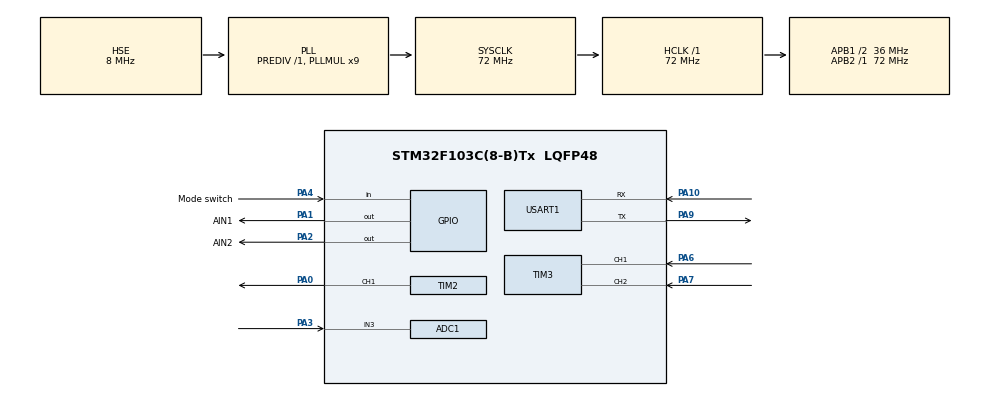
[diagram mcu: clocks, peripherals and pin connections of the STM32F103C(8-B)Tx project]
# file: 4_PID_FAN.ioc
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ADC1.Channel-0\#ChannelRegularConversion=ADC_CHANNEL_3
ADC1.NbrOfConversionFlag=1
ADC1.Rank-0\#ChannelRegularConversion=1
ADC1.SamplingTime-0\#ChannelRegularConversion=ADC_SAMPLETIME_1CYCLE_5
ADC1.master=1
FREERTOS.Tasks01=inputTask,24,128,StartInputTask,Default,NULL,Dynamic,NULL,NULL;modeSwitchTask,8,128,StartModeSwitchTask,Default,NULL,Dynamic,NULL,NULL;speedPidTask,24,128,StartSpeedPidTask,Default,NULL,Dynamic,NULL,NULL;positionPidTask,24,128,StartPositionPidTask,Default,NULL,Dynamic,NULL,NULL;vofaTelemetryTask,8,256,StartVofaTelemetryTask,Default,NULL,Dynamic,NULL,NULL;pidTuningTask,16,256,StartPidTuningTask,Default,NULL,Dynamic,NULL,NULL
FREERTOS.configTOTAL_HEAP_SIZE=8192
Mcu.Family=STM32F1
Mcu.Name=STM32F103C(8-B)Tx
Mcu.Package=LQFP48
NVIC.PriorityGroup=NVIC_PRIORITYGROUP_4
NVIC.TIM4_IRQn=true\:15\:0\:false\:false\:true\:false\:false\:true\:true
NVIC.TimeBase=TIM4_IRQn
NVIC.TimeBaseIP=TIM4
NVIC.USART1_IRQn=true\:5\:0\:false\:false\:true\:true\:true\:true\:true
PA0-WKUP.Signal=S_TIM2_CH1_ETR
PA1.GPIO_Label=AIN1
PA1.Signal=GPIO_Output
PA10.Mode=Asynchronous
PA10.Signal=USART1_RX
PA13.Mode=Serial_Wire
PA13.Signal=SYS_JTMS-SWDIO
PA14.Mode=Serial_Wire
PA14.Signal=SYS_JTCK-SWCLK
PA2.GPIO_Label=AIN2
PA2.Signal=GPIO_Output
PA3.Signal=ADCx_IN3
PA4.GPIO_Label=Mode switch
PA4.GPIO_PuPd=GPIO_PULLUP
PA4.Signal=GPIO_Input
PA6.Signal=S_TIM3_CH1
PA7.Signal=S_TIM3_CH2
PA9.Mode=Asynchronous
PA9.Signal=USART1_TX
PD0-OSC_IN.Mode=HSE-External-Oscillator
PD0-OSC_IN.Signal=RCC_OSC_IN
PD1-OSC_OUT.Mode=HSE-External-Oscillator
PD1-OSC_OUT.Signal=RCC_OSC_OUT
ProjectManager.HeapSize=0x200
ProjectManager.StackSize=0x400
ProjectManager.TargetToolchain=CMake
RCC.ADCPresc=RCC_ADCPCLK2_DIV6
RCC.AHBFreq_Value=72000000
RCC.APB1CLKDivider=RCC_HCLK_DIV2
RCC.APB1Freq_Value=36000000
RCC.APB1TimFreq_Value=72000000
RCC.APB2Freq_Value=72000000
RCC.APB2TimFreq_Value=72000000
RCC.HCLKFreq_Value=72000000
RCC.PLLMUL=RCC_PLL_MUL9
RCC.PLLSourceVirtual=RCC_PLLSOURCE_HSE
RCC.SYSCLKFreq_VALUE=72000000
RCC.SYSCLKSource=RCC_SYSCLKSOURCE_PLLCLK
RCC.USBFreq_Value=72000000
SH.ADCx_IN3.0=ADC1_IN3,IN3
SH.S_TIM2_CH1_ETR.0=TIM2_CH1,PWM Generation1 CH1
SH.S_TIM3_CH1.0=TIM3_CH1,Encoder_Interface
SH.S_TIM3_CH2.0=TIM3_CH2,Encoder_Interface
TIM2.AutoReloadPreload=TIM_AUTORELOAD_PRELOAD_ENABLE
TIM2.Channel-PWM\ Generation1\ CH1=TIM_CHANNEL_1
TIM2.Period=1000-1
TIM2.Prescaler=72-1
TIM3.EncoderMode=TIM_ENCODERMODE_TI12
USART1.VirtualMode=VM_ASYNC
VP_FREERTOS_VS_CMSIS_V2.Mode=CMSIS_V2
VP_SYS_VS_tim4.Mode=TIM4
VP_TIM2_VS_ClockSourceINT.Mode=Internal
board=custom

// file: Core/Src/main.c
/* USER CODE BEGIN Header */
/**
  ******************************************************************************
  * @file           : main.c
  * @brief          : Main program body
  ******************************************************************************
  * @attention
  *
  * Copyright (c) 2026 STMicroelectronics.
  * All rights reserved.
  *
  * This software is licensed under terms that can be found in the LICENSE file
  * in the root directory of this software component.
  * If no LICENSE file comes with this software, it is provided AS-IS.
  *
  ******************************************************************************
  */
/* USER CODE END Header */
#include "main.h"
#include "cmsis_os.h"
#include "adc.h"
#include "tim.h"
#include "usart.h"
#include "gpio.h"

void SystemClock_Config(void);
void MX_FREERTOS_Init(void);

int main(void)
{

  /* MCU Configuration--------------------------------------------------------*/

  /* Reset of all peripherals, Initializes the Flash interface and the Systick. */
  HAL_Init();

  /* Configure the system clock */
  SystemClock_Config();

  /* Initialize all configured peripherals */
  MX_GPIO_Init();
  MX_ADC1_Init();
  MX_TIM2_Init();
  MX_TIM3_Init();
  MX_USART1_UART_Init();

  /* Init scheduler */
  osKernelInitialize();  /* Call init function for freertos objects (in cmsis_os2.c) */
  MX_FREERTOS_Init();

  /* Start scheduler */
  osKernelStart();

  /* We should never get here as control is now taken by the scheduler */

  /* Infinite loop */
  while (1)
  {

  }
}

void SystemClock_Config(void)
{
  RCC_OscInitTypeDef RCC_OscInitStruct = {0};
  RCC_ClkInitTypeDef RCC_ClkInitStruct = {0};
  RCC_PeriphCLKInitTypeDef PeriphClkInit = {0};

  /** Initializes the RCC Oscillators according to the specified parameters
  * in the RCC_OscInitTypeDef structure.
  */
  RCC_OscInitStruct.OscillatorType = RCC_OSCILLATORTYPE_HSE;
  RCC_OscInitStruct.HSEState = RCC_HSE_ON;
  RCC_OscInitStruct.HSEPredivValue = RCC_HSE_PREDIV_DIV1;
  RCC_OscInitStruct.HSIState = RCC_HSI_ON;
  RCC_OscInitStruct.PLL.PLLState = RCC_PLL_ON;
  RCC_OscInitStruct.PLL.PLLSource = RCC_PLLSOURCE_HSE;
  RCC_OscInitStruct.PLL.PLLMUL = RCC_PLL_MUL9;
  if (HAL_RCC_OscConfig(&RCC_OscInitStruct) != HAL_OK)
  {
    Error_Handler();
  }

  /** Initializes the CPU, AHB and APB buses clocks
  */
  RCC_ClkInitStruct.ClockType = RCC_CLOCKTYPE_HCLK|RCC_CLOCKTYPE_SYSCLK
                              |RCC_CLOCKTYPE_PCLK1|RCC_CLOCKTYPE_PCLK2;
  RCC_ClkInitStruct.SYSCLKSource = RCC_SYSCLKSOURCE_PLLCLK;
  RCC_ClkInitStruct.AHBCLKDivider = RCC_SYSCLK_DIV1;
  RCC_ClkInitStruct.APB1CLKDivider = RCC_HCLK_DIV2;
  RCC_ClkInitStruct.APB2CLKDivider = RCC_HCLK_DIV1;

  if (HAL_RCC_ClockConfig(&RCC_ClkInitStruct, FLASH_LATENCY_2) != HAL_OK)
  {
    Error_Handler();
  }
  PeriphClkInit.PeriphClockSelection = RCC_PERIPHCLK_ADC;
  PeriphClkInit.AdcClockSelection = RCC_ADCPCLK2_DIV6;
  if (HAL_RCCEx_PeriphCLKConfig(&PeriphClkInit) != HAL_OK)
  {
    Error_Handler();
  }
}

void HAL_TIM_PeriodElapsedCallback(TIM_HandleTypeDef *htim)
{
  if (htim->Instance == TIM4)
  {
    HAL_IncTick();
  }
}

void Error_Handler(void)
{
  __disable_irq();
  while (1)
  {
  }
}

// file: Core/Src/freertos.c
/* USER CODE BEGIN Header */
/**
  ******************************************************************************
  * File Name          : freertos.c
  * Description        : Code for freertos applications
  ******************************************************************************
  * @attention
  *
  * Copyright (c) 2026 STMicroelectronics.
  * All rights reserved.
  *
  * This software is licensed under terms that can be found in the LICENSE file
  * in the root directory of this software component.
  * If no LICENSE file comes with this software, it is provided AS-IS.
  *
  ******************************************************************************
  */
/* USER CODE END Header */

#include "FreeRTOS.h"
#include "task.h"
#include "main.h"
#include "cmsis_os.h"

/* USER CODE BEGIN Includes */
#include "adc.h"
#include "tim.h"
#include "TB6612.h"
#include "usart.h"
#include <stdio.h>
/* USER CODE END Includes */

/* USER CODE BEGIN PTD */
typedef enum {
  CONTROL_MODE_STOP = 0,
  CONTROL_MODE_SPEED = 1,
  CONTROL_MODE_POSITION = 2
} ControlMode;

typedef struct {
  float kp;
  float ki;
  float kd;
  float dt;             /**< Sample period in seconds. */
  float integral;
  float last_error;
  float integral_limit; /**< Limit on the integral term, in error * s. */
} PidController;

/* USER CODE END PTD */

/* USER CODE BEGIN PD */
#define ADC_FULL_SCALE          4095U

#define INPUT_PERIOD_MS         10U
#define MODE_SCAN_PERIOD_MS     20U
#define MODE_BUTTON_DEBOUNCE_MS 50U
#define SPEED_PID_PERIOD_MS     10U
#define POSITION_PID_PERIOD_MS  10U
#define VOFA_SEND_PERIOD_MS     50U

#define TARGET_SPEED_MAX_CPS    270000.0f  /* ~400 RPM for MG310 1:20 */
#define PID_OUTPUT_MAX          100.0f
#define ENCODER_COUNTS_PER_REV  40000L
#define POSITION_TOLERANCE_DEG  5U

/* Speed gains are expressed against the full-scale target so they follow
 * TARGET_SPEED_MAX_CPS instead of having to be retuned when it changes.
 * Kp: a full-scale error commands 60%% duty. Ki: integral time 0.25 s.
 * Kd stays 0 - the feedback is a 10 ms count delta, too coarse to differentiate. */
#define SPEED_PID_KP            (0.6f * PID_OUTPUT_MAX / TARGET_SPEED_MAX_CPS)
#define SPEED_PID_KI            (4.0f * SPEED_PID_KP)
#define SPEED_PID_KD            0.00f
/* Sized so the integral term alone can reach full output. Unit: counts. */
#define SPEED_PID_INTEGRAL_LIMIT (PID_OUTPUT_MAX / SPEED_PID_KI)

/* Position error is in counts, unlimited range (can exceed ±180°).
 * Kp scaled down because error magnitude is now ~111x larger (counts vs degrees).
 * Ki pulls out static friction. Kd = 0: raw counts have no quantization noise. */
#define POSITION_PID_KP         0.003f
#define POSITION_PID_KI         0.000f
#define POSITION_PID_KD         0.000f
/* Caps the integral term at 50%% duty. Unit: counts * s. */
#define POSITION_PID_INTEGRAL_LIMIT 15000.0f

/* USER CODE END PD */

/* USER CODE BEGIN Variables */
static volatile ControlMode g_control_mode = CONTROL_MODE_STOP;
static volatile uint8_t g_reset_controllers = 1U;

/* InputTask writes these target values. PID tasks read them. */
static volatile int32_t g_target_speed_cps = 0;
static volatile int32_t g_target_position_counts = 0;  /* Unlimited累积角度，单位counts */

/* PID tasks write these feedback/output values. VofaTelemetryTask reads them. */
static volatile int32_t g_feedback_speed_cps = 0;
static volatile int32_t g_feedback_position_counts = 0;  /* 累积counts */
/* Signed: the sign carries the commanded direction, the magnitude the duty. */
static volatile int8_t g_pwm_output = 0;

static uint16_t g_encoder_speed_last_count = 0;
static int32_t g_encoder_position_counts = 0;
static PidController g_speed_pid = {
  .kp = SPEED_PID_KP,
  .ki = SPEED_PID_KI,
  .kd = SPEED_PID_KD,
  .dt = (float)SPEED_PID_PERIOD_MS / 1000.0f,
  .integral = 0.0f,
  .last_error = 0.0f,
  .integral_limit = SPEED_PID_INTEGRAL_LIMIT,
};
static PidController g_position_pid = {
  .kp = POSITION_PID_KP,
  .ki = POSITION_PID_KI,
  .kd = POSITION_PID_KD,
  .dt = (float)POSITION_PID_PERIOD_MS / 1000.0f,
  .integral = 0.0f,
  .last_error = 0.0f,
  .integral_limit = POSITION_PID_INTEGRAL_LIMIT,
};

/* USER CODE END Variables */
/* Definitions for inputTask */
osThreadId_t inputTaskHandle;
const osThreadAttr_t inputTask_attributes = {
  .name = "inputTask",
  .stack_size = 128 * 4,
  .priority = (osPriority_t) osPriorityNormal,
};
/* Definitions for modeSwitchTask */
osThreadId_t modeSwitchTaskHandle;
const osThreadAttr_t modeSwitchTask_attributes = {
  .name = "modeSwitchTask",
  .stack_size = 128 * 4,
  .priority = (osPriority_t) osPriorityLow,
};
/* Definitions for speedPidTask */
osThreadId_t speedPidTaskHandle;
const osThreadAttr_t speedPidTask_attributes = {
  .name = "speedPidTask",
  .stack_size = 128 * 4,
  .priority = (osPriority_t) osPriorityNormal,
};
/* Definitions for positionPidTask */
osThreadId_t positionPidTaskHandle;
const osThreadAttr_t positionPidTask_attributes = {
  .name = "positionPidTask",
  .stack_size = 128 * 4,
  .priority = (osPriority_t) osPriorityNormal,
};
/* Definitions for vofaTelemetryTask */
osThreadId_t vofaTelemetryTaskHandle;
const osThreadAttr_t vofaTelemetryTask_attributes = {
  .name = "vofaTelemetryTask",
  .stack_size = 256 * 4,
  .priority = (osPriority_t) osPriorityLow,
};

/* USER CODE BEGIN FunctionPrototypes */
static int32_t Adc_ToTargetSpeedCountsPerSecond(uint32_t adc_value);
static GPIO_PinState ModeButton_Read(void);
static int32_t Encoder_UpdatePositionCounts(void);
static int32_t Encoder_DeltaToCountsPerSecond(int32_t delta_count);
static void Pid_Reset(PidController *pid);
static float Pid_Update(PidController *pid, float error);
static uint8_t Pid_OutputToPwm(float output);
static void Controllers_ResetAll(void);
static void Motor_SetOutput(int8_t direction, uint8_t speed);
static void Motor_Stop(void);
static void Vofa_SendTelemetry(void);

/* USER CODE END FunctionPrototypes */

void StartInputTask(void *argument);
void StartModeSwitchTask(void *argument);
void StartSpeedPidTask(void *argument);
void StartPositionPidTask(void *argument);
void StartVofaTelemetryTask(void *argument);

void MX_FREERTOS_Init(void); /* (MISRA C 2004 rule 8.1) */

void MX_FREERTOS_Init(void) {

  /* Create the thread(s) */
  /* creation of inputTask */
  inputTaskHandle = osThreadNew(StartInputTask, NULL, &inputTask_attributes);

  /* creation of modeSwitchTask */
  modeSwitchTaskHandle = osThreadNew(StartModeSwitchTask, NULL, &modeSwitchTask_attributes);

  /* creation of speedPidTask */
  speedPidTaskHandle = osThreadNew(StartSpeedPidTask, NULL, &speedPidTask_attributes);

  /* creation of positionPidTask */
  positionPidTaskHandle = osThreadNew(StartPositionPidTask, NULL, &positionPidTask_attributes);

  /* creation of vofaTelemetryTask */
  vofaTelemetryTaskHandle = osThreadNew(StartVofaTelemetryTask, NULL, &vofaTelemetryTask_attributes);

}

/* USER CODE BEGIN Header_StartInputTask */
/**
  * @brief  Reads potentiometer input and publishes target commands.
  * @param  argument: Not used
  * @retval None
  */
/* USER CODE END Header_StartInputTask */
void StartInputTask(void *argument)
{
  /* USER CODE BEGIN StartInputTask */
  uint32_t adc_value;

  HAL_ADCEx_Calibration_Start(&hadc1);

  for(;;)
  {
    if (HAL_ADC_Start(&hadc1) == HAL_OK)
    {
      if (HAL_ADC_PollForConversion(&hadc1, 10U) == HAL_OK)
      {
        adc_value = HAL_ADC_GetValue(&hadc1);
        g_target_speed_cps = Adc_ToTargetSpeedCountsPerSecond(adc_value);
        /* Position target: map ADC 0-4095 to ±2 revs = ±80000 counts */
        g_target_position_counts =
            (int32_t)(((int64_t)adc_value - 2048) * ENCODER_COUNTS_PER_REV * 2 / 4096);
      }

      HAL_ADC_Stop(&hadc1);
    }

    osDelay(INPUT_PERIOD_MS);
  }
  /* USER CODE END StartInputTask */
}

/* USER CODE BEGIN Header_StartModeSwitchTask */
/**
  * @brief  Reads PA4 and publishes the active control mode.
  * @param  argument: Not used
  * @retval None
  */
/* USER CODE END Header_StartModeSwitchTask */
void StartModeSwitchTask(void *argument)
{
  /* USER CODE BEGIN StartModeSwitchTask */
  GPIO_PinState last_raw_state = GPIO_PIN_SET;
  GPIO_PinState stable_state = GPIO_PIN_SET;
  uint32_t last_debounce_tick = HAL_GetTick();

  for(;;)
  {
    GPIO_PinState raw_state = ModeButton_Read();
    uint32_t now = HAL_GetTick();

    if (raw_state != last_raw_state)
    {
      last_debounce_tick = now;
      last_raw_state = raw_state;
    }

    if ((now - last_debounce_tick) >= MODE_BUTTON_DEBOUNCE_MS)
    {
      if (stable_state != raw_state)
      {
        stable_state = raw_state;

        /* Active-low button: cycle through stop -> speed -> position. */
        if (stable_state == GPIO_PIN_RESET)
        {
          if (g_control_mode == CONTROL_MODE_STOP)
            g_control_mode = CONTROL_MODE_SPEED;
          else if (g_control_mode == CONTROL_MODE_SPEED)
            g_control_mode = CONTROL_MODE_POSITION;
          else
            g_control_mode = CONTROL_MODE_STOP;

          g_reset_controllers = 1U;
        }
      }
    }

    osDelay(MODE_SCAN_PERIOD_MS);
  }
  /* USER CODE END StartModeSwitchTask */
}

/* USER CODE BEGIN Header_StartSpeedPidTask */
/**
  * @brief  Runs speed PID and owns motor output in speed mode.
  * @param  argument: Not used
  * @retval None
  */
/* USER CODE END Header_StartSpeedPidTask */
void StartSpeedPidTask(void *argument)
{
  /* USER CODE BEGIN StartSpeedPidTask */
  HAL_TIM_Encoder_Start(&htim3, TIM_CHANNEL_ALL);
  TB6612_Init();
  /* Coast on stop, as before: FAST_DECAY. Switch to SLOW_DECAY to brake and
   * hold position instead. */
  TB6612_SetDecayMode(FAST_DECAY);
  g_encoder_speed_last_count = (int16_t)__HAL_TIM_GET_COUNTER(&htim3);
  g_encoder_position_counts = 0;

  for(;;)
  {
    if (g_reset_controllers != 0U)
    {
      Controllers_ResetAll();
      g_reset_controllers = 0U;
    }

    /* Sampled every cycle in all modes: skipping it would let the counter
     * drift more than one int16 wrap and corrupt the next delta. */
    int32_t feedback_cps =
        Encoder_DeltaToCountsPerSecond(Encoder_UpdatePositionCounts());

    if (g_control_mode == CONTROL_MODE_STOP)
    {
      Motor_Stop();
      Pid_Reset(&g_speed_pid);
      g_feedback_speed_cps = feedback_cps;
    }
    else if (g_control_mode == CONTROL_MODE_SPEED)
    {
      int32_t target_cps = g_target_speed_cps;

      g_feedback_speed_cps = feedback_cps;

      if (target_cps == 0)
      {
        Motor_Stop();
        Pid_Reset(&g_speed_pid);
      }
      else
      {
        float output = Pid_Update(&g_speed_pid,
                                 (float)target_cps - (float)feedback_cps);
        uint8_t pwm = Pid_OutputToPwm(output);

        g_pwm_output = (int8_t)((output < 0.0f) ? -(int8_t)pwm : (int8_t)pwm);
        Motor_SetOutput((output < 0.0f) ? -1 : 1, pwm);
      }
    }

    osDelay(SPEED_PID_PERIOD_MS);
  }
  /* USER CODE END StartSpeedPidTask */
}

/* USER CODE BEGIN Header_StartPositionPidTask */
/**
 * @brief  Runs position PID using the ADC target and encoder feedback.
  * @param  argument: Not used
  * @retval None
  */
/* USER CODE END Header_StartPositionPidTask */
void StartPositionPidTask(void *argument)
{
  /* USER CODE BEGIN StartPositionPidTask */
  for(;;)
  {
    if (g_control_mode == CONTROL_MODE_STOP)
    {
      /* Keep feedback updated for telemetry even when stopped. */
      g_feedback_position_counts = g_encoder_position_counts;
      Pid_Reset(&g_position_pid);
    }
    else if (g_control_mode == CONTROL_MODE_POSITION)
    {
      int32_t position_error;

      /* speedPidTask owns the encoder sampling; read its accumulated count. */
      g_feedback_position_counts = g_encoder_position_counts;

      position_error = g_target_position_counts - g_feedback_position_counts;

      /* Tolerance in counts: 5 degrees = 5 * 40000 / 360 ~= 556 counts */
      if ((position_error >= -556) && (position_error <= 556))
      {
        Motor_Stop();
        Pid_Reset(&g_position_pid);
      }
      else
      {
        /* Signed effort: the sign is the direction, the magnitude the duty. */
        float output = Pid_Update(&g_position_pid, (float)position_error);
        uint8_t pwm = Pid_OutputToPwm(output);

        g_pwm_output = (int8_t)((output < 0.0f) ? -(int8_t)pwm : (int8_t)pwm);
        Motor_SetOutput((output < 0.0f) ? -1 : 1, pwm);
      }
    }

    osDelay(POSITION_PID_PERIOD_MS);
  }
  /* USER CODE END StartPositionPidTask */
}

/* USER CODE BEGIN Header_StartVofaTelemetryTask */
/**
  * @brief  Sends control data to VOFA+ through USART1.
  * @param  argument: Not used
  * @retval None
  */
/* USER CODE END Header_StartVofaTelemetryTask */
void StartVofaTelemetryTask(void *argument)
{
  /* USER CODE BEGIN StartVofaTelemetryTask */
  for(;;)
  {
    Vofa_SendTelemetry();
    osDelay(VOFA_SEND_PERIOD_MS);
  }
  /* USER CODE END StartVofaTelemetryTask */
}

/* USER CODE BEGIN Application */

static int32_t Adc_ToTargetSpeedCountsPerSecond(uint32_t adc_value)
{
  if (adc_value > ADC_FULL_SCALE)
  {
    adc_value = ADC_FULL_SCALE;
  }

  return (int32_t)((adc_value * TARGET_SPEED_MAX_CPS) / ADC_FULL_SCALE);
}

static GPIO_PinState ModeButton_Read(void)
{
  return HAL_GPIO_ReadPin(Mode_switch_GPIO_Port, Mode_switch_Pin);
}

static int32_t Encoder_UpdatePositionCounts(void)
{
  uint16_t current_count = (uint16_t)__HAL_TIM_GET_COUNTER(&htim3);
  int16_t delta_count = (int16_t)(current_count - g_encoder_speed_last_count);

  g_encoder_speed_last_count = current_count;
  g_encoder_position_counts += (int32_t)delta_count;
  return (int32_t)delta_count;
}

/* Signed: negative means the shaft is turning backwards. */
static int32_t Encoder_DeltaToCountsPerSecond(int32_t delta_count)
{
  return (delta_count * 1000) / (int32_t)SPEED_PID_PERIOD_MS;
}

static void Pid_Reset(PidController *pid)
{
  pid->integral = 0.0f;
  pid->last_error = 0.0f;
}

/* Returns a signed effort in [-PID_OUTPUT_MAX, PID_OUTPUT_MAX]: the sign is
 * the direction, the magnitude is the PWM duty. Ki and Kd are scaled by dt so
 * they keep their meaning if a task period changes. */
static float Pid_Update(PidController *pid, float error)
{
  float derivative = (error - pid->last_error) / pid->dt;
  float output;

  pid->integral += error * pid->dt;
  if (pid->integral > pid->integral_limit)
  {
    pid->integral = pid->integral_limit;
  }
  else if (pid->integral < -pid->integral_limit)
  {
    pid->integral = -pid->integral_limit;
  }

  pid->last_error = error;
  output = (pid->kp * error)
         + (pid->ki * pid->integral)
         + (pid->kd * derivative);

  if (output > PID_OUTPUT_MAX)
  {
    output = PID_OUTPUT_MAX;
  }
  else if (output < -PID_OUTPUT_MAX)
  {
    output = -PID_OUTPUT_MAX;
  }

  return output;
}

static uint8_t Pid_OutputToPwm(float output)
{
  return (uint8_t)((output < 0.0f) ? -output : output);
}

static void Controllers_ResetAll(void)
{
  Pid_Reset(&g_speed_pid);
  Pid_Reset(&g_position_pid);
  g_feedback_speed_cps = 0;
  Motor_Stop();
}

static void Motor_SetOutput(int8_t direction, uint8_t speed)
{
  if ((direction == 0) || (speed == 0U))
  {
    Motor_Stop();
  }
  else if (direction < 0)
  {
    TB6612_Backward(speed);
  }
  else
  {
    TB6612_Forward(speed);
  }
}

static void Motor_Stop(void)
{
  g_pwm_output = 0;
  /* Brake or coast according to the decay mode the driver is configured for. */
  TB6612_Stop();
}

static void Vofa_SendTelemetry(void)
{
  char tx_buffer[96];
  int length = snprintf(tx_buffer, sizeof(tx_buffer),
                        /*
                         * FireWater data columns:
                         * 1 mode, 2 target speed, 3 feedback speed,
                         * 4 PWM output, 5 target position counts,
                         * 6 feedback position counts.
                         */
                        "d: %u,%ld,%ld,%d,%ld,%ld\r\n",
                        (uint8_t)g_control_mode,
                        (long)g_target_speed_cps,
                        (long)g_feedback_speed_cps,
                        g_pwm_output,
                        (long)g_target_position_counts,
                        (long)g_feedback_position_counts);

  if (length > 0)
  {
    (void)HAL_UART_Transmit(&huart1, (uint8_t *)tx_buffer,
                            (uint16_t)length, 10U);
  }
}

/* USER CODE END Application */
